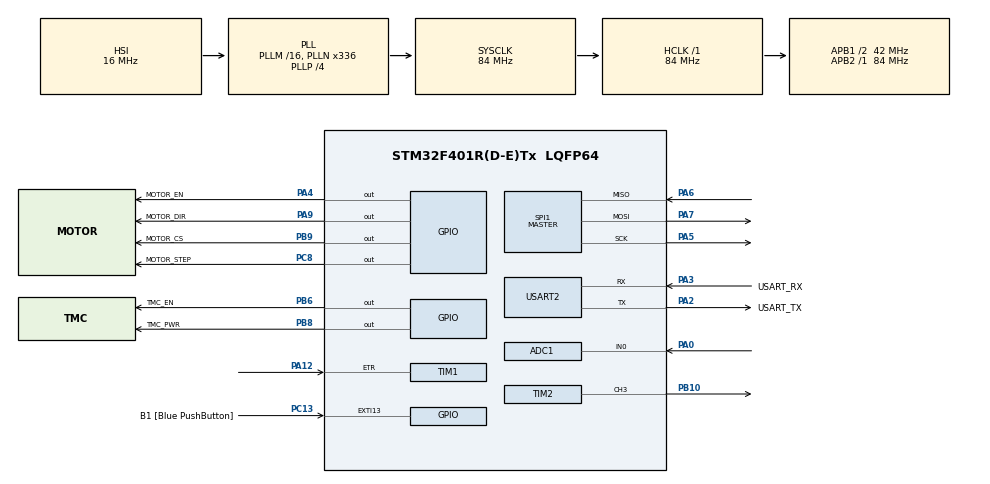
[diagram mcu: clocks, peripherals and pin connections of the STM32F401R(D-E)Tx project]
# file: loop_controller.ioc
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ADC1.Channel-1\#ChannelRegularConversion=ADC_CHANNEL_0
ADC1.NbrOfConversionFlag=1
ADC1.Rank-1\#ChannelRegularConversion=1
ADC1.SamplingTime-1\#ChannelRegularConversion=ADC_SAMPLETIME_3CYCLES
ADC1.master=1
FREERTOS.Tasks01=defaultTask,0,128,StartDefaultTask,Default,NULL,Dynamic,NULL,NULL
Mcu.Family=STM32F4
Mcu.Name=STM32F401R(D-E)Tx
Mcu.Package=LQFP64
NVIC.PriorityGroup=NVIC_PRIORITYGROUP_4
NVIC.TIM1_CC_IRQn=true\:5\:0\:false\:false\:true\:true\:true\:true
NVIC.TIM1_TRG_COM_TIM11_IRQn=true\:5\:0\:false\:false\:true\:true\:true\:true
NVIC.TIM1_UP_TIM10_IRQn=true\:5\:0\:false\:false\:true\:true\:true\:true
NVIC.TIM5_IRQn=true\:0\:0\:false\:false\:true\:false\:false\:true
NVIC.TimeBase=TIM5_IRQn
NVIC.TimeBaseIP=TIM5
NVIC.USART2_IRQn=true\:5\:0\:false\:false\:true\:true\:true\:true
PA0-WKUP.Signal=ADCx_IN0
PA12.Signal=S_TIM1_ETR
PA13.GPIO_Label=TMS
PA13.Mode=Serial_Wire
PA13.Signal=SYS_JTMS-SWDIO
PA14.GPIO_Label=TCK
PA14.Mode=Serial_Wire
PA14.Signal=SYS_JTCK-SWCLK
PA2.GPIO_Label=USART_TX
PA2.GPIO_Mode=GPIO_MODE_AF_PP
PA2.GPIO_PuPd=GPIO_NOPULL
PA2.GPIO_Speed=GPIO_SPEED_FREQ_LOW
PA2.Mode=Asynchronous
PA2.Signal=USART2_TX
PA3.GPIO_Label=USART_RX
PA3.GPIO_Mode=GPIO_MODE_AF_PP
PA3.GPIO_PuPd=GPIO_NOPULL
PA3.GPIO_Speed=GPIO_SPEED_FREQ_LOW
PA3.Mode=Asynchronous
PA3.Signal=USART2_RX
PA4.GPIO_Label=MOTOR_EN
PA4.Signal=GPIO_Output
PA5.Mode=Full_Duplex_Master
PA5.Signal=SPI1_SCK
PA6.Mode=Full_Duplex_Master
PA6.Signal=SPI1_MISO
PA7.Mode=Full_Duplex_Master
PA7.Signal=SPI1_MOSI
PA9.GPIO_Label=MOTOR_DIR
PA9.Signal=GPIO_Output
PB10.Signal=S_TIM2_CH3
PB3.GPIO_Label=SWO
PB3.Signal=SYS_JTDO-SWO
PB6.GPIO_Label=TMC_EN
PB6.Signal=GPIO_Output
PB8.GPIO_Label=TMC_PWR
PB8.Signal=GPIO_Output
PB9.GPIO_Label=MOTOR_CS
PB9.Signal=GPIO_Output
PC13-ANTI_TAMP.GPIO_Label=B1 [Blue PushButton]
PC13-ANTI_TAMP.GPIO_ModeDefaultEXTI=GPIO_MODE_IT_FALLING
PC13-ANTI_TAMP.GPIO_PuPd=GPIO_NOPULL
PC13-ANTI_TAMP.Signal=GPXTI13
PC14-OSC32_IN.Mode=LSE-External-Oscillator
PC14-OSC32_IN.Signal=RCC_OSC32_IN
PC15-OSC32_OUT.Mode=LSE-External-Oscillator
PC15-OSC32_OUT.Signal=RCC_OSC32_OUT
PC8.GPIO_Label=MOTOR_STEP
PC8.Signal=GPIO_Output
PH0\ -\ OSC_IN.Mode=HSE-External-Clock-Source
PH0\ -\ OSC_IN.Signal=RCC_OSC_IN
PH1\ -\ OSC_OUT.Mode=HSE-External-Clock-Source
PH1\ -\ OSC_OUT.Signal=RCC_OSC_OUT
ProjectManager.HeapSize=0x200
ProjectManager.StackSize=0x400
ProjectManager.TargetToolchain=STM32CubeIDE
RCC.48MHZClocksFreq_Value=48000000
RCC.AHBFreq_Value=84000000
RCC.APB1CLKDivider=RCC_HCLK_DIV2
RCC.APB1Freq_Value=42000000
RCC.APB1TimFreq_Value=84000000
RCC.APB2Freq_Value=84000000
RCC.APB2TimFreq_Value=84000000
RCC.CortexFreq_Value=84000000
RCC.HCLKFreq_Value=84000000
RCC.HSE_VALUE=8000000
RCC.HSI_VALUE=16000000
RCC.PLLN=336
RCC.PLLP=RCC_PLLP_DIV4
RCC.PLLQ=7
RCC.SYSCLKFreq_VALUE=84000000
RCC.SYSCLKSource=RCC_SYSCLKSOURCE_PLLCLK
RCC.VCOOutputFreq_Value=336000000
SH.ADCx_IN0.0=ADC1_IN0,IN0
SH.S_TIM1_ETR.0=TIM1_ETR,TriggerSource_ETR
SH.S_TIM2_CH3.0=TIM2_CH3,PWM Generation3 CH3
SPI1.BaudRatePrescaler=SPI_BAUDRATEPRESCALER_256
SPI1.CLKPhase=SPI_PHASE_2EDGE
SPI1.CLKPolarity=SPI_POLARITY_HIGH
SPI1.Direction=SPI_DIRECTION_2LINES
SPI1.Mode=SPI_MODE_MASTER
SPI1.VirtualType=VM_MASTER
TIM1.AutoReloadPreload=TIM_AUTORELOAD_PRELOAD_DISABLE
TIM1.Channel-Output\ Compare1\ No\ Output=TIM_CHANNEL_1
TIM1.Period=0
TIM2.AutoReloadPreload=TIM_AUTORELOAD_PRELOAD_ENABLE
TIM2.Channel-PWM\ Generation3\ CH3=TIM_CHANNEL_3
TIM2.Period=40000
TIM2.Pulse-PWM\ Generation3\ CH3=10000
USART2.VirtualMode=VM_ASYNC
VP_FREERTOS_VS_CMSIS_V1.Mode=CMSIS_V1
VP_SYS_VS_tim5.Mode=TIM5
VP_TIM1_VS_ControllerModeClock.Mode=Clock Mode
VP_TIM1_VS_no_output1.Mode=Output Compare1 No Output
VP_TIM2_VS_ClockSourceINT.Mode=Internal
board=NUCLEO-F401RE

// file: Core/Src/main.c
/* USER CODE BEGIN Header */
/**
  ******************************************************************************
  * @file           : main.c
  * @brief          : Main program body
  ******************************************************************************
  * @attention
  *
  * <h2><center>&copy; Copyright (c) 2022 STMicroelectronics.
  * All rights reserved.</center></h2>
  *
  * This software component is licensed by ST under Ultimate Liberty license
  * SLA0044, the "License"; You may not use this file except in compliance with
  * the License. You may obtain a copy of the License at:
  *                             www.st.com/SLA0044
  *
  ******************************************************************************
  */
/* USER CODE END Header */

#include "main.h"
#include "cmsis_os.h"
#include "adc.h"
#include "spi.h"
#include "tim.h"
#include "usart.h"
#include "gpio.h"

/* USER CODE BEGIN Includes */
#include "motorcontrol.h"
#include "tmc2130.h"
/* USER CODE END Includes */

/* USER CODE BEGIN PV */
/* Private variables ---------------------------------------------------------*/

/* USER CODE END PV */

void SystemClock_Config(void);
void MX_FREERTOS_Init(void);
/* USER CODE BEGIN PFP */
/* Private function prototypes -----------------------------------------------*/

/* USER CODE END PFP */

int main(void)
{

  /* MCU Configuration--------------------------------------------------------*/

  /* Reset of all peripherals, Initializes the Flash interface and the Systick. */
  HAL_Init();

  /* Configure the system clock */
  SystemClock_Config();

  /* Initialize all configured peripherals */
  MX_GPIO_Init();
  MX_SPI1_Init();
  MX_USART2_UART_Init();
  MX_ADC1_Init();
  MX_TIM1_Init();
  MX_TIM2_Init();
  /* USER CODE BEGIN 2 */
  enable_motor_driver();
  tmc_init();

  HAL_NVIC_SetPriorityGrouping( NVIC_PRIORITYGROUP_4 );

  setup_uart_receive();

  /* USER CODE END 2 */

  /* Call init function for freertos objects (in freertos.c) */
  MX_FREERTOS_Init();
  /* Start scheduler */
  osKernelStart();

  /* We should never get here as control is now taken by the scheduler */
  /* Infinite loop */
  while (1)
  {

  }
}

void SystemClock_Config(void)
{
  RCC_OscInitTypeDef RCC_OscInitStruct = {0};
  RCC_ClkInitTypeDef RCC_ClkInitStruct = {0};

  /** Configure the main internal regulator output voltage
  */
  __HAL_RCC_PWR_CLK_ENABLE();
  __HAL_PWR_VOLTAGESCALING_CONFIG(PWR_REGULATOR_VOLTAGE_SCALE2);
  /** Initializes the CPU, AHB and APB busses clocks
  */
  RCC_OscInitStruct.OscillatorType = RCC_OSCILLATORTYPE_HSI;
  RCC_OscInitStruct.HSIState = RCC_HSI_ON;
  RCC_OscInitStruct.HSICalibrationValue = RCC_HSICALIBRATION_DEFAULT;
  RCC_OscInitStruct.PLL.PLLState = RCC_PLL_ON;
  RCC_OscInitStruct.PLL.PLLSource = RCC_PLLSOURCE_HSI;
  RCC_OscInitStruct.PLL.PLLM = 16;
  RCC_OscInitStruct.PLL.PLLN = 336;
  RCC_OscInitStruct.PLL.PLLP = RCC_PLLP_DIV4;
  RCC_OscInitStruct.PLL.PLLQ = 7;
  if (HAL_RCC_OscConfig(&RCC_OscInitStruct) != HAL_OK)
  {
    Error_Handler();
  }
  /** Initializes the CPU, AHB and APB busses clocks
  */
  RCC_ClkInitStruct.ClockType = RCC_CLOCKTYPE_HCLK|RCC_CLOCKTYPE_SYSCLK
                              |RCC_CLOCKTYPE_PCLK1|RCC_CLOCKTYPE_PCLK2;
  RCC_ClkInitStruct.SYSCLKSource = RCC_SYSCLKSOURCE_PLLCLK;
  RCC_ClkInitStruct.AHBCLKDivider = RCC_SYSCLK_DIV1;
  RCC_ClkInitStruct.APB1CLKDivider = RCC_HCLK_DIV2;
  RCC_ClkInitStruct.APB2CLKDivider = RCC_HCLK_DIV1;

  if (HAL_RCC_ClockConfig(&RCC_ClkInitStruct, FLASH_LATENCY_2) != HAL_OK)
  {
    Error_Handler();
  }
}

 /**
  * @brief  Period elapsed callback in non blocking mode
  * @note   This function is called  when TIM5 interrupt took place, inside
  * HAL_TIM_IRQHandler(). It makes a direct call to HAL_IncTick() to increment
  * a global variable "uwTick" used as application time base.
  * @param  htim : TIM handle
  * @retval None
  */
void HAL_TIM_PeriodElapsedCallback(TIM_HandleTypeDef *htim)
{
  if (htim->Instance == TIM5) {
    HAL_IncTick();
  }
}

void Error_Handler(void)
{
  while(1)
  {
  }
}

/************************ (C) COPYRIGHT STMicroelectronics *****END OF FILE****/

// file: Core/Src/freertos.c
/* USER CODE BEGIN Header */
/**
  ******************************************************************************
  * File Name          : freertos.c
  * Description        : Code for freertos applications
  ******************************************************************************
  * @attention
  *
  * <h2><center>&copy; Copyright (c) 2022 STMicroelectronics.
  * All rights reserved.</center></h2>
  *
  * This software component is licensed by ST under Ultimate Liberty license
  * SLA0044, the "License"; You may not use this file except in compliance with
  * the License. You may obtain a copy of the License at:
  *                             www.st.com/SLA0044
  *
  ******************************************************************************
  */
/* USER CODE END Header */

#include "FreeRTOS.h"
#include "task.h"
#include "main.h"
#include "cmsis_os.h"

/* USER CODE BEGIN Includes */
#include "motorcontrol.h"
#include "usart.h"
/* USER CODE END Includes */

/* USER CODE BEGIN PTD */
	extern QueueHandle_t xMotorQueue; //todo: find a better place for this
	extern QueueHandle_t xSerialQueue; //todo: find a better place for this

/* USER CODE END PTD */

/* USER CODE BEGIN Variables */

	osThreadId motorTaskHandle;
	osThreadId serialTaskHandle;

/* USER CODE END Variables */
osThreadId defaultTaskHandle;

void StartDefaultTask(void const * argument);

void MX_FREERTOS_Init(void); /* (MISRA C 2004 rule 8.1) */

/* GetIdleTaskMemory prototype (linked to static allocation support) */
void vApplicationGetIdleTaskMemory( StaticTask_t **ppxIdleTaskTCBBuffer, StackType_t **ppxIdleTaskStackBuffer, uint32_t *pulIdleTaskStackSize );

/* USER CODE BEGIN GET_IDLE_TASK_MEMORY */
static StaticTask_t xIdleTaskTCBBuffer;
static StackType_t xIdleStack[configMINIMAL_STACK_SIZE];

void vApplicationGetIdleTaskMemory( StaticTask_t **ppxIdleTaskTCBBuffer, StackType_t **ppxIdleTaskStackBuffer, uint32_t *pulIdleTaskStackSize )
{
  *ppxIdleTaskTCBBuffer = &xIdleTaskTCBBuffer;
  *ppxIdleTaskStackBuffer = &xIdleStack[0];
  *pulIdleTaskStackSize = configMINIMAL_STACK_SIZE;
  /* place for user code */
}
/* USER CODE END GET_IDLE_TASK_MEMORY */

void MX_FREERTOS_Init(void) {

  /* USER CODE BEGIN RTOS_QUEUES */

	xMotorQueue = xQueueCreate(30, sizeof(motorMessage_t));
	xSerialQueue = xQueueCreate(30, 1); //bytes to transfer to UART task
  /* USER CODE END RTOS_QUEUES */

  /* Create the thread(s) */
  /* definition and creation of defaultTask */
  osThreadDef(defaultTask, StartDefaultTask, osPriorityNormal, 0, 128);
  defaultTaskHandle = osThreadCreate(osThread(defaultTask), NULL);

  /* USER CODE BEGIN RTOS_THREADS */
  osThreadDef(motorTask, StartMotorTask, osPriorityNormal, 0, 128);
  motorTaskHandle = osThreadCreate(osThread(motorTask), NULL);

  osThreadDef(serialTask, StartSerialTask, osPriorityNormal, 0, 128);
  serialTaskHandle = osThreadCreate(osThread(serialTask), NULL);

  /* USER CODE END RTOS_THREADS */

}

void StartDefaultTask(void const * argument)
{
  /* USER CODE BEGIN StartDefaultTask */
  /* Infinite loop */

  uint8_t first_run = 1;
  motorMessage_t motorMessage;
  BaseType_t xStatus;
  uint8_t manual_run = 0;
  uint32_t manual_step = 25000;
  uint8_t turn_off_motor = 0;
  uint8_t turn_on_motor = 0;

  for(;;)
  {

	  	//Testing on 06/07/2022
	  	//25300 = CW band of 20m

		if(manual_run) {
				motorMessage.motorCommand = MOVE_TO_POSITION;
				motorMessage.steps = manual_step;

				xStatus = xQueueSendToBack(xMotorQueue, &motorMessage, 0);

				if (xStatus != pdPASS) {
					//todo: add an assert or wait
				}
				manual_run = 0;
		}

		if(turn_off_motor) {
			disable_motor_driver();
			turn_off_motor  = 0;
		}

	if(first_run) {
		motorMessage.motorCommand = HOME;
		motorMessage.steps = 0;

		xStatus = xQueueSendToBack(xMotorQueue, &motorMessage, 0);

		if (xStatus != pdPASS) {
			//todo: add an assert or wait
		}

		motorMessage.motorCommand = MOVE_TO_POSITION;
		//motorMessage.steps = 25300;
		motorMessage.steps = 1000;

		xStatus = xQueueSendToBack(xMotorQueue, &motorMessage, 0);

		if (xStatus != pdPASS) {
			//todo: add an assert or wait
		}

		first_run = 0;

  	}

      osDelay(50);
  }
  /* USER CODE END StartDefaultTask */
}

/************************ (C) COPYRIGHT STMicroelectronics *****END OF FILE****/
